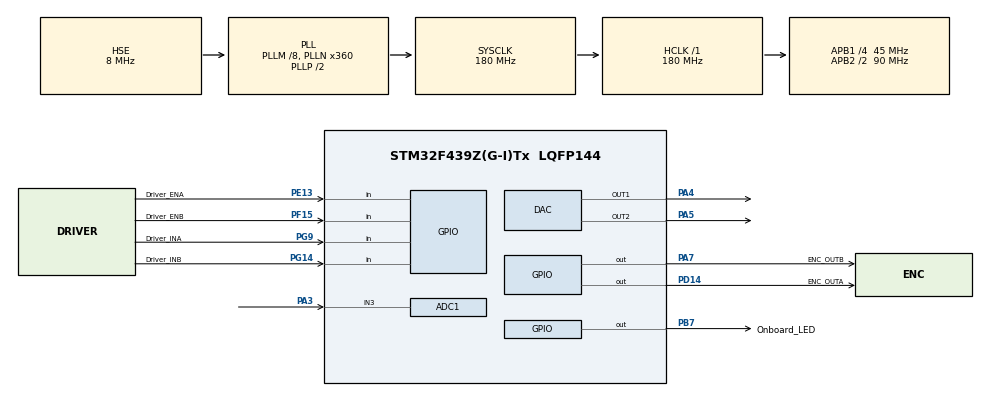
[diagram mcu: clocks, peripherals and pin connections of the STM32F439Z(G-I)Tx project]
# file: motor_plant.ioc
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ADC1.Channel-2\#ChannelRegularConversion=ADC_CHANNEL_3
ADC1.ClockPrescaler=ADC_CLOCK_SYNC_PCLK_DIV8
ADC1.ContinuousConvMode=ENABLE
ADC1.DMAContinuousRequests=ENABLE
ADC1.ExternalTrigConv=ADC_EXTERNALTRIGCONV_T3_TRGO
ADC1.NbrOfConversion=1
ADC1.NbrOfConversionFlag=1
ADC1.Rank-2\#ChannelRegularConversion=1
ADC1.SamplingTime-2\#ChannelRegularConversion=ADC_SAMPLETIME_84CYCLES
ADC1.ScanConvMode=ENABLE
ADC1.master=1
DAC.DAC_Trigger=DAC_TRIGGER_T6_TRGO
DAC.DAC_Trigger2=DAC_TRIGGER_T6_TRGO
Dma.ADC1.0.Direction=DMA_PERIPH_TO_MEMORY
Dma.ADC1.0.FIFOMode=DMA_FIFOMODE_DISABLE
Dma.ADC1.0.Instance=DMA2_Stream0
Dma.ADC1.0.MemDataAlignment=DMA_MDATAALIGN_WORD
Dma.ADC1.0.MemInc=DMA_MINC_ENABLE
Dma.ADC1.0.Mode=DMA_CIRCULAR
Dma.ADC1.0.PeriphDataAlignment=DMA_PDATAALIGN_WORD
Dma.ADC1.0.PeriphInc=DMA_PINC_DISABLE
Dma.ADC1.0.Priority=DMA_PRIORITY_LOW
Dma.DAC1.1.Direction=DMA_MEMORY_TO_PERIPH
Dma.DAC1.1.FIFOMode=DMA_FIFOMODE_DISABLE
Dma.DAC1.1.Instance=DMA1_Stream5
Dma.DAC1.1.MemDataAlignment=DMA_MDATAALIGN_HALFWORD
Dma.DAC1.1.MemInc=DMA_MINC_ENABLE
Dma.DAC1.1.Mode=DMA_CIRCULAR
Dma.DAC1.1.PeriphDataAlignment=DMA_PDATAALIGN_HALFWORD
Dma.DAC1.1.PeriphInc=DMA_PINC_DISABLE
Dma.DAC1.1.Priority=DMA_PRIORITY_LOW
Dma.DAC2.2.Direction=DMA_MEMORY_TO_PERIPH
Dma.DAC2.2.FIFOMode=DMA_FIFOMODE_DISABLE
Dma.DAC2.2.Instance=DMA1_Stream6
Dma.DAC2.2.MemDataAlignment=DMA_MDATAALIGN_HALFWORD
Dma.DAC2.2.MemInc=DMA_MINC_ENABLE
Dma.DAC2.2.Mode=DMA_CIRCULAR
Dma.DAC2.2.PeriphDataAlignment=DMA_PDATAALIGN_HALFWORD
Dma.DAC2.2.PeriphInc=DMA_PINC_DISABLE
Dma.DAC2.2.Priority=DMA_PRIORITY_LOW
Dma.Request0=ADC1
Dma.Request1=DAC1
Dma.Request2=DAC2
Mcu.Family=STM32F4
Mcu.Name=STM32F439Z(G-I)Tx
Mcu.Package=LQFP144
NVIC.DMA1_Stream5_IRQn=true\:0\:0\:false\:false\:true\:false\:true\:true
NVIC.DMA1_Stream6_IRQn=true\:0\:0\:false\:false\:true\:false\:true\:true
NVIC.DMA2_Stream0_IRQn=true\:1\:0\:true\:false\:true\:false\:true\:true
NVIC.PriorityGroup=NVIC_PRIORITYGROUP_4
NVIC.TIM3_IRQn=true\:0\:0\:false\:false\:true\:true\:true\:true
NVIC.TIM6_DAC_IRQn=true\:0\:0\:false\:false\:true\:true\:true\:true
PA3.Signal=ADCx_IN3
PA4.Signal=COMP_DAC1_group
PA5.Signal=COMP_DAC2_group
PA7.GPIO_Label=ENC_OUTB
PA7.Signal=GPIO_Output
PB7.GPIO_Label=Onboard_LED
PB7.Signal=GPIO_Output
PD14.GPIO_Label=ENC_OUTA
PD14.Signal=GPIO_Output
PE13.GPIO_Label=Driver_ENA
PE13.Signal=GPIO_Input
PF15.GPIO_Label=Driver_ENB
PF15.Signal=GPIO_Input
PG14.GPIO_Label=Driver_INB
PG14.Signal=GPIO_Input
PG9.GPIO_Label=Driver_INA
PG9.Signal=GPIO_Input
PH0/OSC_IN.Mode=HSE-External-Oscillator
PH0/OSC_IN.Signal=RCC_OSC_IN
PH1/OSC_OUT.Mode=HSE-External-Oscillator
PH1/OSC_OUT.Signal=RCC_OSC_OUT
ProjectManager.HeapSize=0x200
ProjectManager.StackSize=0x400
ProjectManager.TargetToolchain=CMake
RCC.48MHZClocksFreq_Value=90000000
RCC.AHBFreq_Value=180000000
RCC.APB1CLKDivider=RCC_HCLK_DIV4
RCC.APB1Freq_Value=45000000
RCC.APB1TimFreq_Value=90000000
RCC.APB2CLKDivider=RCC_HCLK_DIV2
RCC.APB2Freq_Value=90000000
RCC.APB2TimFreq_Value=180000000
RCC.CortexFreq_Value=180000000
RCC.HCLKFreq_Value=180000000
RCC.HSE_VALUE=8000000
RCC.HSI_VALUE=16000000
RCC.LSE_VALUE=32768
RCC.PLLM=8
RCC.PLLN=360
RCC.PLLSourceVirtual=RCC_PLLSOURCE_HSE
RCC.SYSCLKFreq_VALUE=180000000
RCC.SYSCLKSource=RCC_SYSCLKSOURCE_PLLCLK
RCC.VCOOutputFreq_Value=360000000
SH.ADCx_IN3.0=ADC1_IN3,IN3
SH.COMP_DAC1_group.0=DAC_OUT1,DAC_OUT1
SH.COMP_DAC2_group.0=DAC_OUT2,DAC_OUT2
TIM3.Period=49
TIM3.Prescaler=179
TIM3.TIM_MasterOutputTrigger=TIM_TRGO_UPDATE
TIM6.Period=49
TIM6.Prescaler=179
TIM6.TIM_MasterOutputTrigger=TIM_TRGO_UPDATE
VP_TIM3_VS_ClockSourceINT.Mode=Internal
VP_TIM6_VS_ClockSourceINT.Mode=Enable_Timer
board=custom

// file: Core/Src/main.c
/* USER CODE BEGIN Header */
/**
 ******************************************************************************
 * @file           : main.c
 * @brief          : Main program body
 ******************************************************************************
 * @attention
 *
 * Copyright (c) 2025 STMicroelectronics.
 * All rights reserved.
 *
 * This software is licensed under terms that can be found in the LICENSE file
 * in the root directory of this software component.
 * If no LICENSE file comes with this software, it is provided AS-IS.
 *
 ******************************************************************************
 */
/* USER CODE END Header */
#include "main.h"

/* USER CODE BEGIN Includes */
#include <stdio.h>
#include <stdbool.h>
#include <stdint.h>
#include <string.h>
#include "plant.h"
/* USER CODE END Includes */

/* USER CODE BEGIN PTD */

#define ADC1_CHANNELS 1
#define DAC1_CHANNELS 1
#define DAC2_CHANNELS 1

typedef union
{
    uint32_t buffer[ADC1_CHANNELS];
    struct
    {
        uint32_t pwm_duty;
    } channels;
} adc1_data_t;

typedef union
{
    uint16_t buffer[DAC1_CHANNELS];
    struct
    {
        uint16_t V_CS;
    } channels;
} dac1_data_t;

typedef union
{
    uint16_t buffer[DAC2_CHANNELS];
    struct
    {
        uint16_t VOUTA;
    } channels;
} dac2_data_t;

/* USER CODE END PTD */

/* USER CODE BEGIN PD */

#define VCC 3.3f // Logic voltage
#define ADC_RESOLUTION 4095.0f
#define ADC_TO_VOLTS (VCC / ADC_RESOLUTION) // Convert ADC counts to voltage

/* USER CODE END PD */

ADC_HandleTypeDef hadc1;
DMA_HandleTypeDef hdma_adc1;

DAC_HandleTypeDef hdac;
DMA_HandleTypeDef hdma_dac1;
DMA_HandleTypeDef hdma_dac2;

TIM_HandleTypeDef htim3;
TIM_HandleTypeDef htim6;

/* USER CODE BEGIN PV */
volatile bool sample_flag = false;

volatile adc1_data_t adc1_data;
volatile dac1_data_t dac1_data;
volatile dac2_data_t dac2_data;

// Archimedes-generated structs
plant_arg_t plant_arg;   // Inputs
plant_res_t plant_res;   // Outputs
plant_work_t plant_work; // Workspace

/* USER CODE END PV */

void SystemClock_Config(void);
static void MX_GPIO_Init(void);
static void MX_DMA_Init(void);
static void MX_ADC1_Init(void);
static void MX_DAC_Init(void);
static void MX_TIM6_Init(void);
static void MX_TIM3_Init(void);

int main(void)
{

    /* MCU Configuration--------------------------------------------------------*/

    /* Reset of all peripherals, Initializes the Flash interface and the Systick. */
    HAL_Init();

    /* Configure the system clock */
    SystemClock_Config();

    /* Initialize all configured peripherals */
    MX_GPIO_Init();
    MX_DMA_Init();
    MX_ADC1_Init();
    MX_DAC_Init();
    MX_TIM6_Init();
    MX_TIM3_Init();
    /* USER CODE BEGIN 2 */

    // Set up plant model
    plant_init(&plant_arg, &plant_res, &plant_work);

    // Start ADC with DMA in circular mode
    if (HAL_ADC_Start_DMA(&hadc1, (uint32_t *)adc1_dma_buffer, ADC1_CHANNELS) != HAL_OK)
        Error_Handler();

    // Start DAC with DMA in circular mode
    if (HAL_DAC_Start_DMA(&hdac, DAC_CHANNEL_1, (uint32_t *)dac1_dma_buffer, DAC1_CHANNELS, DAC_ALIGN_12B_R) != HAL_OK)
        Error_Handler();

    if (HAL_DAC_Start_DMA(&hdac, DAC_CHANNEL_2, (uint32_t *)dac2_dma_buffer, DAC2_CHANNELS, DAC_ALIGN_12B_R) != HAL_OK)
        Error_Handler();

    // Start ADC timer
    if (HAL_TIM_Base_Start_IT(&htim3) != HAL_OK)
        Error_Handler();

    // Start main loop + DAC timer
    if (HAL_TIM_Base_Start_IT(&htim6) != HAL_OK)
        Error_Handler();

    /* USER CODE END 2 */

    /* Infinite loop */
    /* USER CODE BEGIN WHILE */

    HAL_GPIO_WritePin(Onboard_LED_GPIO_Port, Onboard_LED_Pin, GPIO_PIN_SET);
    HAL_Delay(1000); // Wait 1 sec for everything to come online
    HAL_GPIO_WritePin(Onboard_LED_GPIO_Port, Onboard_LED_Pin, GPIO_PIN_RESET);

    while (1)
    {
        /* USER CODE END WHILE */

        /* USER CODE BEGIN 3 */

        if (sample_flag)
            sample_callback();
    }
    /* USER CODE END 3 */
}

void SystemClock_Config(void)
{
    RCC_OscInitTypeDef RCC_OscInitStruct = {0};
    RCC_ClkInitTypeDef RCC_ClkInitStruct = {0};

    /** Configure the main internal regulator output voltage
     */
    __HAL_RCC_PWR_CLK_ENABLE();
    __HAL_PWR_VOLTAGESCALING_CONFIG(PWR_REGULATOR_VOLTAGE_SCALE1);

    /** Initializes the RCC Oscillators according to the specified parameters
     * in the RCC_OscInitTypeDef structure.
     */
    RCC_OscInitStruct.OscillatorType = RCC_OSCILLATORTYPE_HSE;
    RCC_OscInitStruct.HSEState = RCC_HSE_ON;
    RCC_OscInitStruct.PLL.PLLState = RCC_PLL_ON;
    RCC_OscInitStruct.PLL.PLLSource = RCC_PLLSOURCE_HSE;
    RCC_OscInitStruct.PLL.PLLM = 8;
    RCC_OscInitStruct.PLL.PLLN = 360;
    RCC_OscInitStruct.PLL.PLLP = RCC_PLLP_DIV2;
    RCC_OscInitStruct.PLL.PLLQ = 4;
    if (HAL_RCC_OscConfig(&RCC_OscInitStruct) != HAL_OK)
    {
        Error_Handler();
    }

    /** Activate the Over-Drive mode
     */
    if (HAL_PWREx_EnableOverDrive() != HAL_OK)
    {
        Error_Handler();
    }

    /** Initializes the CPU, AHB and APB buses clocks
     */
    RCC_ClkInitStruct.ClockType = RCC_CLOCKTYPE_HCLK | RCC_CLOCKTYPE_SYSCLK | RCC_CLOCKTYPE_PCLK1 | RCC_CLOCKTYPE_PCLK2;
    RCC_ClkInitStruct.SYSCLKSource = RCC_SYSCLKSOURCE_PLLCLK;
    RCC_ClkInitStruct.AHBCLKDivider = RCC_SYSCLK_DIV1;
    RCC_ClkInitStruct.APB1CLKDivider = RCC_HCLK_DIV4;
    RCC_ClkInitStruct.APB2CLKDivider = RCC_HCLK_DIV2;

    if (HAL_RCC_ClockConfig(&RCC_ClkInitStruct, FLASH_LATENCY_5) != HAL_OK)
    {
        Error_Handler();
    }
}

static void MX_ADC1_Init(void)
{

    ADC_ChannelConfTypeDef sConfig = {0};

    /** Configure the global features of the ADC (Clock, Resolution, Data Alignment and number of conversion)
     */
    hadc1.Instance = ADC1;
    hadc1.Init.ClockPrescaler = ADC_CLOCK_SYNC_PCLK_DIV8;
    hadc1.Init.Resolution = ADC_RESOLUTION_12B;
    hadc1.Init.ScanConvMode = ENABLE;
    hadc1.Init.ContinuousConvMode = ENABLE;
    hadc1.Init.DiscontinuousConvMode = DISABLE;
    hadc1.Init.ExternalTrigConvEdge = ADC_EXTERNALTRIGCONVEDGE_RISING;
    hadc1.Init.ExternalTrigConv = ADC_EXTERNALTRIGCONV_T3_TRGO;
    hadc1.Init.DataAlign = ADC_DATAALIGN_RIGHT;
    hadc1.Init.NbrOfConversion = 1;
    hadc1.Init.DMAContinuousRequests = ENABLE;
    hadc1.Init.EOCSelection = ADC_EOC_SINGLE_CONV;
    if (HAL_ADC_Init(&hadc1) != HAL_OK)
    {
        Error_Handler();
    }

    /** Configure for the selected ADC regular channel its corresponding rank in the sequencer and its sample time.
     */
    sConfig.Channel = ADC_CHANNEL_3;
    sConfig.Rank = 1;
    sConfig.SamplingTime = ADC_SAMPLETIME_84CYCLES;
    if (HAL_ADC_ConfigChannel(&hadc1, &sConfig) != HAL_OK)
    {
        Error_Handler();
    }
}

static void MX_DAC_Init(void)
{

    DAC_ChannelConfTypeDef sConfig = {0};

    /** DAC Initialization
     */
    hdac.Instance = DAC;
    if (HAL_DAC_Init(&hdac) != HAL_OK)
    {
        Error_Handler();
    }

    /** DAC channel OUT1 config
     */
    sConfig.DAC_Trigger = DAC_TRIGGER_T6_TRGO;
    sConfig.DAC_OutputBuffer = DAC_OUTPUTBUFFER_ENABLE;
    if (HAL_DAC_ConfigChannel(&hdac, &sConfig, DAC_CHANNEL_1) != HAL_OK)
    {
        Error_Handler();
    }

    /** DAC channel OUT2 config
     */
    if (HAL_DAC_ConfigChannel(&hdac, &sConfig, DAC_CHANNEL_2) != HAL_OK)
    {
        Error_Handler();
    }
}

static void MX_TIM3_Init(void)
{

    TIM_ClockConfigTypeDef sClockSourceConfig = {0};
    TIM_MasterConfigTypeDef sMasterConfig = {0};

    htim3.Instance = TIM3;
    htim3.Init.Prescaler = 179;
    htim3.Init.CounterMode = TIM_COUNTERMODE_UP;
    htim3.Init.Period = 49;
    htim3.Init.ClockDivision = TIM_CLOCKDIVISION_DIV1;
    htim3.Init.AutoReloadPreload = TIM_AUTORELOAD_PRELOAD_DISABLE;
    if (HAL_TIM_Base_Init(&htim3) != HAL_OK)
    {
        Error_Handler();
    }
    sClockSourceConfig.ClockSource = TIM_CLOCKSOURCE_INTERNAL;
    if (HAL_TIM_ConfigClockSource(&htim3, &sClockSourceConfig) != HAL_OK)
    {
        Error_Handler();
    }
    sMasterConfig.MasterOutputTrigger = TIM_TRGO_UPDATE;
    sMasterConfig.MasterSlaveMode = TIM_MASTERSLAVEMODE_DISABLE;
    if (HAL_TIMEx_MasterConfigSynchronization(&htim3, &sMasterConfig) != HAL_OK)
    {
        Error_Handler();
    }
}

static void MX_TIM6_Init(void)
{

    TIM_MasterConfigTypeDef sMasterConfig = {0};

    htim6.Instance = TIM6;
    htim6.Init.Prescaler = 179;
    htim6.Init.CounterMode = TIM_COUNTERMODE_UP;
    htim6.Init.Period = 49;
    htim6.Init.AutoReloadPreload = TIM_AUTORELOAD_PRELOAD_DISABLE;
    if (HAL_TIM_Base_Init(&htim6) != HAL_OK)
    {
        Error_Handler();
    }
    sMasterConfig.MasterOutputTrigger = TIM_TRGO_UPDATE;
    sMasterConfig.MasterSlaveMode = TIM_MASTERSLAVEMODE_DISABLE;
    if (HAL_TIMEx_MasterConfigSynchronization(&htim6, &sMasterConfig) != HAL_OK)
    {
        Error_Handler();
    }
}

static void MX_DMA_Init(void)
{

    /* DMA controller clock enable */
    __HAL_RCC_DMA2_CLK_ENABLE();
    __HAL_RCC_DMA1_CLK_ENABLE();

    /* DMA interrupt init */
    /* DMA1_Stream5_IRQn interrupt configuration */
    HAL_NVIC_SetPriority(DMA1_Stream5_IRQn, 0, 0);
    HAL_NVIC_EnableIRQ(DMA1_Stream5_IRQn);
    /* DMA1_Stream6_IRQn interrupt configuration */
    HAL_NVIC_SetPriority(DMA1_Stream6_IRQn, 0, 0);
    HAL_NVIC_EnableIRQ(DMA1_Stream6_IRQn);
    /* DMA2_Stream0_IRQn interrupt configuration */
    HAL_NVIC_SetPriority(DMA2_Stream0_IRQn, 1, 0);
    HAL_NVIC_EnableIRQ(DMA2_Stream0_IRQn);
}

static void MX_GPIO_Init(void)
{
    GPIO_InitTypeDef GPIO_InitStruct = {0};

    /* GPIO Ports Clock Enable */
    __HAL_RCC_GPIOH_CLK_ENABLE();
    __HAL_RCC_GPIOA_CLK_ENABLE();
    __HAL_RCC_GPIOF_CLK_ENABLE();
    __HAL_RCC_GPIOE_CLK_ENABLE();
    __HAL_RCC_GPIOD_CLK_ENABLE();
    __HAL_RCC_GPIOG_CLK_ENABLE();
    __HAL_RCC_GPIOB_CLK_ENABLE();

    /*Configure GPIO pin Output Level */
    HAL_GPIO_WritePin(ENC_OUTB_GPIO_Port, ENC_OUTB_Pin, GPIO_PIN_RESET);

    /*Configure GPIO pin Output Level */
    HAL_GPIO_WritePin(ENC_OUTA_GPIO_Port, ENC_OUTA_Pin, GPIO_PIN_RESET);

    /*Configure GPIO pin Output Level */
    HAL_GPIO_WritePin(Onboard_LED_GPIO_Port, Onboard_LED_Pin, GPIO_PIN_RESET);

    /*Configure GPIO pin : ENC_OUTB_Pin */
    GPIO_InitStruct.Pin = ENC_OUTB_Pin;
    GPIO_InitStruct.Mode = GPIO_MODE_OUTPUT_PP;
    GPIO_InitStruct.Pull = GPIO_NOPULL;
    GPIO_InitStruct.Speed = GPIO_SPEED_FREQ_LOW;
    HAL_GPIO_Init(ENC_OUTB_GPIO_Port, &GPIO_InitStruct);

    /*Configure GPIO pin : Driver_ENB_Pin */
    GPIO_InitStruct.Pin = Driver_ENB_Pin;
    GPIO_InitStruct.Mode = GPIO_MODE_INPUT;
    GPIO_InitStruct.Pull = GPIO_NOPULL;
    HAL_GPIO_Init(Driver_ENB_GPIO_Port, &GPIO_InitStruct);

    /*Configure GPIO pin : Driver_ENA_Pin */
    GPIO_InitStruct.Pin = Driver_ENA_Pin;
    GPIO_InitStruct.Mode = GPIO_MODE_INPUT;
    GPIO_InitStruct.Pull = GPIO_NOPULL;
    HAL_GPIO_Init(Driver_ENA_GPIO_Port, &GPIO_InitStruct);

    /*Configure GPIO pin : ENC_OUTA_Pin */
    GPIO_InitStruct.Pin = ENC_OUTA_Pin;
    GPIO_InitStruct.Mode = GPIO_MODE_OUTPUT_PP;
    GPIO_InitStruct.Pull = GPIO_NOPULL;
    GPIO_InitStruct.Speed = GPIO_SPEED_FREQ_LOW;
    HAL_GPIO_Init(ENC_OUTA_GPIO_Port, &GPIO_InitStruct);

    /*Configure GPIO pins : Driver_INA_Pin Driver_INB_Pin */
    GPIO_InitStruct.Pin = Driver_INA_Pin | Driver_INB_Pin;
    GPIO_InitStruct.Mode = GPIO_MODE_INPUT;
    GPIO_InitStruct.Pull = GPIO_NOPULL;
    HAL_GPIO_Init(GPIOG, &GPIO_InitStruct);

    /*Configure GPIO pin : Onboard_LED_Pin */
    GPIO_InitStruct.Pin = Onboard_LED_Pin;
    GPIO_InitStruct.Mode = GPIO_MODE_OUTPUT_PP;
    GPIO_InitStruct.Pull = GPIO_NOPULL;
    GPIO_InitStruct.Speed = GPIO_SPEED_FREQ_LOW;
    HAL_GPIO_Init(Onboard_LED_GPIO_Port, &GPIO_InitStruct);

}

/* USER CODE BEGIN 4 */
void HAL_TIM_PeriodElapsedCallback(TIM_HandleTypeDef *htim)
{
    if (htim->Instance == TIM6)
    {
        sample_flag = true;
    }
}

void sample_callback(void)
{
    /* INPUTS */

    // Read ADC values from DMA buffer
    // ADC1_IN3 (Rank 1) - PWM input
    plant_arg.inputs.pwm_duty = ((float)adc1_data.channels.pwm_duty) / ADC_RESOLUTION;

    plant_arg.inputs.INA = HAL_GPIO_ReadPin(Driver_INA_GPIO_Port, Driver_INA_Pin);
    plant_arg.inputs.INB = HAL_GPIO_ReadPin(Driver_INB_GPIO_Port, Driver_INB_Pin);
    plant_arg.inputs.ENA = HAL_GPIO_ReadPin(Driver_ENA_GPIO_Port, Driver_ENA_Pin);
    plant_arg.inputs.ENB = HAL_GPIO_ReadPin(Driver_ENB_GPIO_Port, Driver_ENB_Pin);

    /* SIMULATION */

    // Step the plant model forward
    plant_step(&plant_arg, &plant_res, &plant_work);

    // Copy state from output struct back to inputs for next step
    for (int i = 0; i < sizeof(plant_arg.state) / sizeof(plant_arg.state[0]); i++)
        plant_arg.state[i] = plant_res.state_new[i];

    /* OUTPUTS */

    // Store the simulated voltage outputs in the DAC buffers
    dac1_data.channels.V_CS = (uint16_t)(plant_res.outputs.V_CS / ADC_TO_VOLTS);
    dac2_data.channels.VOUTA = (uint16_t)(plant_res.outputs.VOUTA / ADC_TO_VOLTS);

    // Update the encoder output pins
    if (plant_res.outputs.ENCA == 1)
        HAL_GPIO_WritePin(ENC_OUTB_GPIO_Port, ENC_OUTB_Pin, GPIO_PIN_SET);
    else
        HAL_GPIO_WritePin(ENC_OUTB_GPIO_Port, ENC_OUTB_Pin, GPIO_PIN_RESET);
    if (plant_res.outputs.ENCB == 1)
        HAL_GPIO_WritePin(ENC_OUTA_GPIO_Port, ENC_OUTA_Pin, GPIO_PIN_SET);
    else
        HAL_GPIO_WritePin(ENC_OUTA_GPIO_Port, ENC_OUTA_Pin, GPIO_PIN_RESET);
}

/* USER CODE END 4 */

void Error_Handler(void)
{
    __disable_irq();
    while (1)
    {
    }
}
